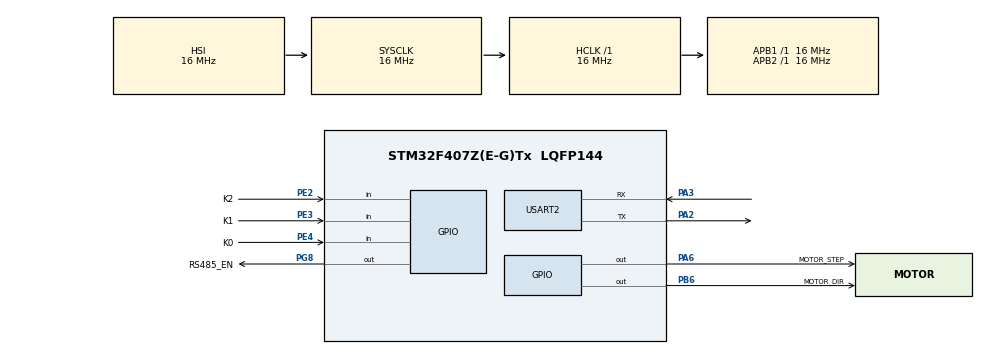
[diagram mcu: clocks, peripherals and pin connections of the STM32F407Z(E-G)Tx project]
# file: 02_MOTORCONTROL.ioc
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Dma.Request0=USART2_RX
Dma.Request1=USART2_TX
Dma.USART2_RX.0.Direction=DMA_PERIPH_TO_MEMORY
Dma.USART2_RX.0.FIFOMode=DMA_FIFOMODE_DISABLE
Dma.USART2_RX.0.Instance=DMA1_Stream5
Dma.USART2_RX.0.MemDataAlignment=DMA_MDATAALIGN_BYTE
Dma.USART2_RX.0.MemInc=DMA_MINC_ENABLE
Dma.USART2_RX.0.Mode=DMA_CIRCULAR
Dma.USART2_RX.0.PeriphDataAlignment=DMA_PDATAALIGN_BYTE
Dma.USART2_RX.0.PeriphInc=DMA_PINC_DISABLE
Dma.USART2_RX.0.Priority=DMA_PRIORITY_LOW
Dma.USART2_TX.1.Direction=DMA_MEMORY_TO_PERIPH
Dma.USART2_TX.1.FIFOMode=DMA_FIFOMODE_DISABLE
Dma.USART2_TX.1.Instance=DMA1_Stream6
Dma.USART2_TX.1.MemDataAlignment=DMA_MDATAALIGN_BYTE
Dma.USART2_TX.1.MemInc=DMA_MINC_ENABLE
Dma.USART2_TX.1.Mode=DMA_NORMAL
Dma.USART2_TX.1.PeriphDataAlignment=DMA_PDATAALIGN_BYTE
Dma.USART2_TX.1.PeriphInc=DMA_PINC_DISABLE
Dma.USART2_TX.1.Priority=DMA_PRIORITY_LOW
Mcu.Family=STM32F4
Mcu.Name=STM32F407Z(E-G)Tx
Mcu.Package=LQFP144
NVIC.DMA1_Stream5_IRQn=true\:6\:0\:true\:false\:true\:false\:true\:true
NVIC.DMA1_Stream6_IRQn=true\:6\:0\:true\:false\:true\:false\:true\:true
NVIC.PriorityGroup=NVIC_PRIORITYGROUP_4
NVIC.TIM6_DAC_IRQn=true\:10\:0\:true\:false\:true\:true\:true\:true
NVIC.USART2_IRQn=true\:6\:0\:true\:false\:true\:true\:true\:true
PA13.Mode=Serial_Wire
PA13.Signal=SYS_JTMS-SWDIO
PA14.Mode=Serial_Wire
PA14.Signal=SYS_JTCK-SWCLK
PA2.Mode=Asynchronous
PA2.Signal=USART2_TX
PA3.Mode=Asynchronous
PA3.Signal=USART2_RX
PA6.GPIO_Label=MOTOR_STEP
PA6.Signal=GPIO_Output
PB6.GPIO_Label=MOTOR_DIR
PB6.Signal=GPIO_Output
PE2.GPIO_Label=K2
PE2.GPIO_PuPd=GPIO_PULLUP
PE2.Signal=GPIO_Input
PE3.GPIO_Label=K1
PE3.GPIO_PuPd=GPIO_PULLUP
PE3.Signal=GPIO_Input
PE4.GPIO_Label=K0
PE4.GPIO_PuPd=GPIO_PULLUP
PE4.Signal=GPIO_Input
PG8.GPIO_Label=RS485_EN
PG8.Signal=GPIO_Output
ProjectManager.HeapSize=0x200
ProjectManager.StackSize=0x400
ProjectManager.TargetToolchain=CMake
RCC.AHBFreq_Value=16000000
RCC.APB1Freq_Value=16000000
RCC.APB2Freq_Value=16000000
RCC.CortexFreq_Value=16000000
RCC.HSE_VALUE=16000000
RCC.HSI_VALUE=16000000
RCC.LSE_VALUE=32768
RCC.SYSCLKFreq_VALUE=16000000
RCC.VCOOutputFreq_Value=192000000
TIM6.Period=9
TIM6.Prescaler=15999
USART2.VirtualMode=VM_ASYNC
VP_TIM6_VS_ClockSourceINT.Mode=Enable_Timer
board=custom

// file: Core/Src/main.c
/* USER CODE BEGIN Header */
/**
  ******************************************************************************
  * @file           : main.c
  * @brief          : Main program body
  ******************************************************************************
  * @attention
  *
  * Copyright (c) 2026 STMicroelectronics.
  * All rights reserved.
  *
  * This software is licensed under terms that can be found in the LICENSE file
  * in the root directory of this software component.
  * If no LICENSE file comes with this software, it is provided AS-IS.
  *
  ******************************************************************************
  */
/* USER CODE END Header */
#include "main.h"
#include "dma.h"
#include "tim.h"
#include "usart.h"
#include "gpio.h"

/* USER CODE BEGIN Includes */
#include "zdt_x42s.h"
#include "keycontrol.h"

/* USER CODE END Includes */

/* USER CODE BEGIN PV */
/* Keep existing Watch expressions usable after the protocol refactor. */
static volatile ZDT_VersionState_t s_dbg_state = ZDT_VERSION_IDLE;
static volatile bool s_dbg_version_ok = false;
static volatile ZDT_X42S_Version_t s_dbg_version;
static volatile RS485_Result_t s_dbg_comm_result = RS485_OK;

/* Set request in Watch while paused, then resume. One-shot, never retried.
 * 1 version, 2 status, 3 options, 4 position, 5 explicit session recovery,
 * 6 small relative move (requires arm == 0x454D4D31 and valid fresh readbacks).
 * Configure pulses only after verifying actual microstep and motor angle. */
static volatile struct {
    uint32_t request;
    uint8_t address;
    uint32_t arm, direction, pulses, speed_rpm;
    RS485_Result_t result;
    RS485_Debug_t rs485;
    ZDT_Debug_t zdt;
} s_debug = {.address = 1U, .speed_rpm = 5U};

/* USER CODE END PV */

void SystemClock_Config(void);

/* USER CODE BEGIN 0 */
static void Debug_Proc(void)
{
    uint32_t request = s_debug.request;
    if (request != 0U) {
        s_debug.request = 0U;
        switch (request) {
        case 1: s_debug.result = ZDT_X42S_StartVersionQuery(s_debug.address); break;
        case 2: s_debug.result = ZDT_X42S_StartStatusQuery(s_debug.address); break;
        case 3: s_debug.result = ZDT_X42S_StartOptionsQuery(s_debug.address); break;
        case 4: s_debug.result = ZDT_X42S_StartPositionQuery(s_debug.address); break;
        case 5: s_debug.result = ZDT_X42S_ResumeAfterTimeout(); break;
        case 6: {
            uint32_t arm = s_debug.arm;
            s_debug.arm = 0U; /* Consumed even if the command is refused. */
            s_debug.result = arm == 0x454D4D31U ?
                ZDT_X42S_TestRelative(s_debug.address, s_debug.direction,
                                     s_debug.pulses, s_debug.speed_rpm) :
                RS485_NOT_READY;
            break;
        }
        default: s_debug.result = RS485_INVALID_PARAM; break;
        }
    }
    /* Snapshot at most every 50 ms; protocol processing still runs every loop.
     * A manual request forces an immediate refresh without waiting. */
    static uint32_t last_snapshot_tick;
    uint32_t now = HAL_GetTick();
    if (request == 0U && (uint32_t)(now - last_snapshot_tick) < 50U) { return; }
    last_snapshot_tick = now;
    RS485_Debug_t driver;
    ZDT_Debug_t protocol;
    if (RS485_GetDebug(&driver)) { s_debug.rs485 = driver; }
    if (ZDT_X42S_GetDebug(&protocol)) {
        s_debug.zdt = protocol;
        s_dbg_state = protocol.state;
        s_dbg_comm_result = protocol.comm_result;
        s_dbg_version_ok = protocol.version_valid;
        s_dbg_version.fw_version = protocol.version.fw_version;
        s_dbg_version.hw_series = protocol.version.hw_series;
        s_dbg_version.hw_type = protocol.version.hw_type;
        s_dbg_version.hw_version = protocol.version.hw_version;
    }
}

/* USER CODE END 0 */

int main(void)
{

  /* MCU Configuration--------------------------------------------------------*/

  /* Reset of all peripherals, Initializes the Flash interface and the Systick. */
  HAL_Init();

  /* Configure the system clock */
  SystemClock_Config();

  /* Initialize all configured peripherals */
  MX_GPIO_Init();
  MX_DMA_Init();
  MX_TIM6_Init();
  MX_USART2_UART_Init();
  /* USER CODE BEGIN 2 */

  HAL_TIM_Base_Start_IT(&htim6); // 启动定时器中断
  if (RS485_Init() != RS485_OK)
  {
      Error_Handler();
  }

  /* All queries and motion tests are explicitly requested through Debug_Proc. */

  /* USER CODE END 2 */

  /* Infinite loop */
  while (1)
  {

    /* USER CODE BEGIN 3 */
    RS485_Proc();
    /* KEY_Proc() stays disabled: STEP/DIR uses blocking HAL_Delay. */
    ZDT_X42S_Proc();
    Debug_Proc();
  }
  /* USER CODE END 3 */
}

void SystemClock_Config(void)
{
  RCC_OscInitTypeDef RCC_OscInitStruct = {0};
  RCC_ClkInitTypeDef RCC_ClkInitStruct = {0};

  /** Configure the main internal regulator output voltage
  */
  __HAL_RCC_PWR_CLK_ENABLE();
  __HAL_PWR_VOLTAGESCALING_CONFIG(PWR_REGULATOR_VOLTAGE_SCALE1);

  /** Initializes the RCC Oscillators according to the specified parameters
  * in the RCC_OscInitTypeDef structure.
  */
  RCC_OscInitStruct.OscillatorType = RCC_OSCILLATORTYPE_HSI;
  RCC_OscInitStruct.HSIState = RCC_HSI_ON;
  RCC_OscInitStruct.HSICalibrationValue = RCC_HSICALIBRATION_DEFAULT;
  RCC_OscInitStruct.PLL.PLLState = RCC_PLL_NONE;
  if (HAL_RCC_OscConfig(&RCC_OscInitStruct) != HAL_OK)
  {
    Error_Handler();
  }

  /** Initializes the CPU, AHB and APB buses clocks
  */
  RCC_ClkInitStruct.ClockType = RCC_CLOCKTYPE_HCLK|RCC_CLOCKTYPE_SYSCLK
                              |RCC_CLOCKTYPE_PCLK1|RCC_CLOCKTYPE_PCLK2;
  RCC_ClkInitStruct.SYSCLKSource = RCC_SYSCLKSOURCE_HSI;
  RCC_ClkInitStruct.AHBCLKDivider = RCC_SYSCLK_DIV1;
  RCC_ClkInitStruct.APB1CLKDivider = RCC_HCLK_DIV1;
  RCC_ClkInitStruct.APB2CLKDivider = RCC_HCLK_DIV1;

  if (HAL_RCC_ClockConfig(&RCC_ClkInitStruct, FLASH_LATENCY_0) != HAL_OK)
  {
    Error_Handler();
  }
}

/* USER CODE BEGIN 4 */

void HAL_TIM_PeriodElapsedCallback(TIM_HandleTypeDef *htim)
{
  if (htim->Instance==TIM6) {
    KEY_Time();
  }
}

/* USER CODE END 4 */

void Error_Handler(void)
{
  __disable_irq();
  while (1)
  {
  }
}
